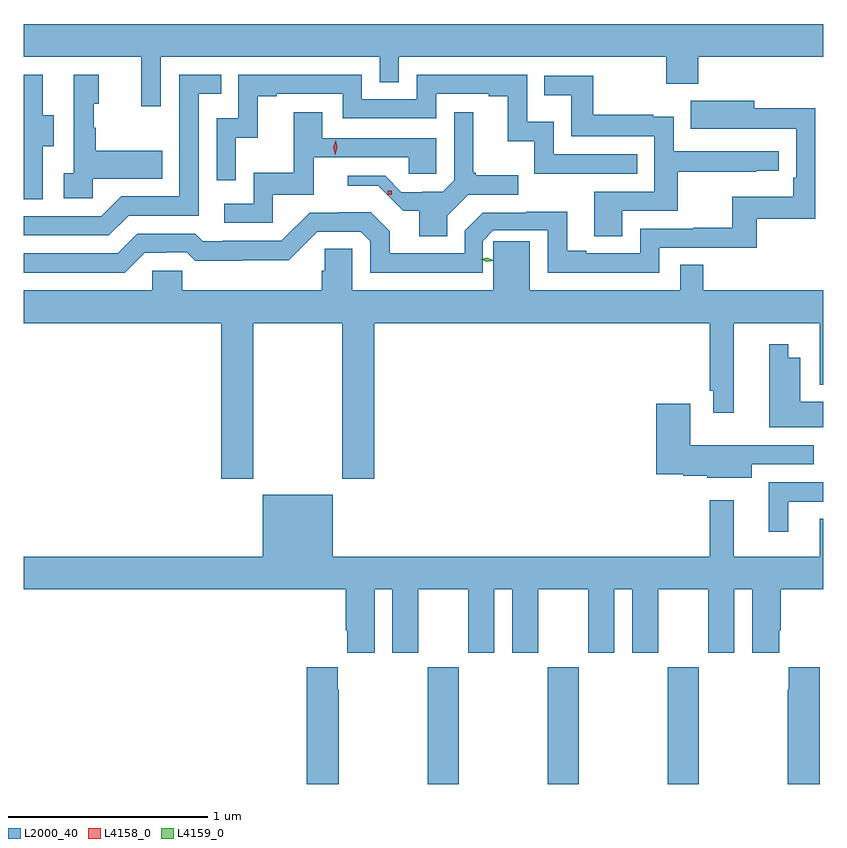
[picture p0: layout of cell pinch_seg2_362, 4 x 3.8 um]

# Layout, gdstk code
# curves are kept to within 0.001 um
import gdstk
lib = gdstk.Library(unit=1e-6, precision=1e-09)
def R(c, l, rs):  # rectangles x0, y0, x1, y1
    for r in rs: c.add(gdstk.rectangle(r[:2], r[2:], *l))
def A(c, l, x, y, w, h, nx, ny, dx, dy):  # array of equal rectangles
    R(c, l, [(x+i*dx, y+j*dy, x+i*dx+w, y+j*dy+h) for i in range(nx) for j in range(ny)])
def P(c, l, *ps):  # polygons
    for p in ps: c.add(gdstk.Polygon(p, *l))
L2000_40 = (2000, 40)
L4158_0 = (4158, 0)
L4159_0 = (4159, 0)

pinch_seg2_362 = lib.new_cell('pinch_seg2_362')
A(pinch_seg2_362, L2000_40, 1001.575, 626.683, 0.155, 0.585, 3, 1, 0.6, 0)
P(pinch_seg2_362, L2000_40, [(1000.239,630.32),(1001.334,630.32),(1001.334,630.193),(1001.43,630.193),(1001.43,630.32),(1002.766,630.32),(1002.766,630.185),(1002.926,630.185),(1002.926,630.32),(1003.553,630.32),(1003.553,630.484),(999.553,630.484),(999.553,630.32),(1000.142,630.32),(1000.142,630.072),(1000.239,630.072)],
  [(1000.614,629.915),(1000.724,629.915),(1000.724,630.123),(1000.819,630.123),(1000.819,630.135),(1001.148,630.135),(1001.148,630.012),(1001.616,630.012),(1001.616,630.135),(1001.879,630.135),(1001.879,630.123),(1001.975,630.123),(1001.975,629.897),(1002.108,629.897),(1002.108,629.736),(1002.623,629.736),(1002.623,629.832),(1002.204,629.832),(1002.204,629.995),(1002.072,629.995),(1002.072,630.231),(1001.52,630.231),(1001.52,630.108),(1001.244,630.108),(1001.244,630.231),(1000.626,630.231),(1000.626,630.012),(1000.518,630.012),(1000.518,629.703),(1000.614,629.703)],
  [(1000.078,629.526),(1000.428,629.526),(1000.428,630.135),(1000.541,630.135),(1000.541,630.231),(1000.332,630.231),(1000.332,629.622),(1000.041,629.622),(999.942,629.523),(999.553,629.523),(999.553,629.427),(999.979,629.427)],
  [(999.9,629.711),(1000.247,629.711),(1000.247,629.851),(999.913,629.851),(999.913,629.966),(999.903,629.966),(999.903,630.084),(999.928,630.084),(999.928,630.229),(999.804,630.229),(999.804,629.738),(999.753,629.738),(999.753,629.613),(999.9,629.613)],
  [(999.648,629.872),(999.703,629.872),(999.703,630.027),(999.649,630.027),(999.649,630.229),(999.553,630.229),(999.553,629.608),(999.648,629.608)],
  [(1002.547,629.55),(1002.824,629.55),(1002.824,629.746),(1003.217,629.746),(1003.217,629.751),(1003.33,629.751),(1003.33,629.847),(1002.804,629.847),(1002.804,630.019),(1002.701,630.019),(1002.701,630.031),(1002.403,630.031),(1002.403,630.225),(1002.157,630.225),(1002.157,630.128),(1002.292,630.128),(1002.292,629.922),(1002.708,629.922),(1002.708,629.646),(1002.407,629.646),(1002.407,629.422),(1002.547,629.422)],
  [(1000.159,629.34),(1000.266,629.34),(1000.266,629.343),(1000.369,629.343),(1000.411,629.301),(1000.644,629.301),(1000.644,629.303),(1000.88,629.303),(1001.022,629.445),(1001.238,629.445),(1001.286,629.397),(1001.286,629.241),(1001.849,629.241),(1001.849,629.398),(1001.903,629.453),(1002.174,629.453),(1002.174,629.241),(1002.732,629.241),(1002.732,629.364),(1003.219,629.364),(1003.219,629.511),(1003.512,629.511),(1003.512,630.062),(1003.207,630.062),(1003.207,630.1),(1002.889,630.1),(1002.889,629.96),(1003.416,629.961),(1003.416,629.716),(1003.403,629.716),(1003.403,629.62),(1003.098,629.62),(1003.098,629.465),(1002.901,629.465),(1002.901,629.46),(1002.636,629.46),(1002.636,629.337),(1002.367,629.337),(1002.367,629.35),(1002.271,629.35),(1002.271,629.545),(1002.066,629.545),(1002.066,629.541),(1001.85,629.541),(1001.76,629.451),(1001.76,629.337),(1001.383,629.337),(1001.383,629.447),(1001.288,629.542),(1000.983,629.541),(1000.842,629.4),(1000.549,629.4),(1000.549,629.397),(1000.45,629.397),(1000.411,629.436),(1000.122,629.436),(1000.023,629.337),(999.553,629.337),(999.553,629.241),(1000.06,629.241)],
  [(1001.671,629.524),(1001.778,629.631),(1002.028,629.631),(1002.028,629.728),(1001.815,629.728),(1001.815,629.74),(1001.803,629.74),(1001.803,630.043),(1001.706,630.043),(1001.706,629.703),(1001.649,629.646),(1001.547,629.646),(1001.547,629.643),(1001.442,629.643),(1001.361,629.724),(1001.175,629.724),(1001.175,629.675),(1001.326,629.675),(1001.452,629.549),(1001.531,629.549),(1001.531,629.422),(1001.671,629.422)],
  [(1000.8,629.631),(1001.005,629.631),(1001.005,629.817),(1001.478,629.817),(1001.478,629.734),(1001.616,629.734),(1001.616,629.913),(1001.047,629.913),(1001.047,630.043),(1000.903,630.043),(1000.903,629.74),(1000.704,629.74),(1000.704,629.586),(1000.557,629.586),(1000.557,629.49),(1000.8,629.49)],
  [(1000.701,628.988),(1001.146,628.988),(1001.146,628.209),(1001.306,628.209),(1001.306,628.988),(1002.984,628.988),(1002.984,628.651),(1003.001,628.651),(1003.001,628.539),(1003.105,628.539),(1003.105,628.988),(1003.535,628.988),(1003.535,628.679),(1003.553,628.679),(1003.553,629.152),(1002.953,629.152),(1002.953,629.279),(1002.837,629.279),(1002.837,629.152),(1002.085,629.152),(1002.085,629.398),(1001.903,629.398),(1001.903,629.152),(1001.196,629.152),(1001.196,629.36),(1001.059,629.36),(1001.059,629.25),(1001.045,629.25),(1001.045,629.152),(1000.347,629.152),(1000.347,629.25),(1000.197,629.25),(1000.197,629.152),(999.553,629.152),(999.553,628.988),(1000.541,628.988),(1000.541,628.209),(1000.701,628.209)],
  [(1003.553,628.594),(1003.438,628.594),(1003.438,628.816),(1003.378,628.816),(1003.378,628.882),(1003.281,628.882),(1003.281,628.466),(1003.553,628.466)],
  [(1003.195,628.281),(1003.504,628.281),(1003.504,628.377),(1003.191,628.377),(1003.191,628.378),(1002.886,628.378),(1002.886,628.585),(1002.716,628.585),(1002.716,628.232),(1002.852,628.232),(1002.852,628.225),(1002.972,628.225),(1002.972,628.214),(1003.195,628.214)],
  [(1003.378,628.095),(1003.553,628.095),(1003.553,628.191),(1003.28,628.191),(1003.28,627.945),(1003.378,627.945)],
  [(1001.308,627.656),(1001.396,627.656),(1001.396,627.339),(1001.527,627.339),(1001.527,627.656),(1001.777,627.656),(1001.777,627.339),(1001.908,627.339),(1001.908,627.656),(1001.996,627.656),(1001.996,627.339),(1002.127,627.339),(1002.127,627.656),(1002.377,627.656),(1002.377,627.339),(1002.508,627.339),(1002.508,627.656),(1002.596,627.656),(1002.596,627.339),(1002.727,627.339),(1002.727,627.656),(1002.977,627.656),(1002.977,627.339),(1003.108,627.339),(1003.108,627.656),(1003.196,627.656),(1003.196,627.339),(1003.333,627.339),(1003.333,627.451),(1003.34,627.451),(1003.34,627.656),(1003.553,627.656),(1003.553,628.01),(1003.535,628.01),(1003.535,627.82),(1003.105,627.82),(1003.105,628.102),(1002.984,628.102),(1002.984,627.82),(1001.098,627.82),(1001.098,628.129),(1000.748,628.129),(1000.748,627.82),(999.553,627.82),(999.553,627.656),(1001.165,627.656),(1001.165,627.451),(1001.171,627.451),(1001.171,627.339),(1001.308,627.339)],
  [(1003.535,627.268),(1003.379,627.268),(1003.379,627.155),(1003.375,627.155),(1003.375,626.683),(1003.535,626.683)],
  [(1001.13,627.155),(1001.125,627.155),(1001.125,627.268),(1000.97,627.268),(1000.97,626.683),(1001.13,626.683)])
R(pinch_seg2_362, L4158_0, [(1001.375,629.63,1001.395,629.65)])
P(pinch_seg2_362, L4158_0, [(1001.111,629.831),(1001.111,629.831),(1001.102,629.868),(1001.113,629.903),(1001.114,629.903),(1001.114,629.903),(1001.122,629.867),(1001.111,629.831)])
P(pinch_seg2_362, L4159_0, [(1001.87,629.295),(1001.838,629.308),(1001.838,629.308),(1001.838,629.308),(1001.873,629.315),(1001.905,629.302),(1001.905,629.301),(1001.905,629.301)])

lib.write_gds('pinch_seg2_362.gds')
